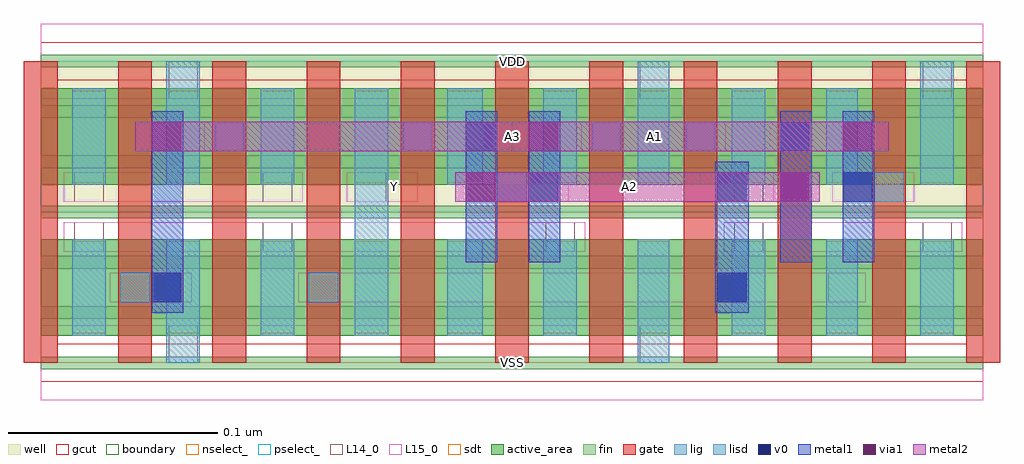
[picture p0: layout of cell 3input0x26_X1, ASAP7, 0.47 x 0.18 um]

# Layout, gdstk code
import gdstk
lib = gdstk.Library(unit=1e-6, precision=1e-09)
def R(c, l, rs):  # rectangles x0, y0, x1, y1
    for r in rs: c.add(gdstk.rectangle(r[:2], r[2:], *l))
def A(c, l, x, y, w, h, nx, ny, dx, dy):  # array of equal rectangles
    R(c, l, [(x+i*dx, y+j*dy, x+i*dx+w, y+j*dy+h) for i in range(nx) for j in range(ny)])
def P(c, l, *ps):  # polygons
    for p in ps: c.add(gdstk.Polygon(p, *l))
well = (1, 0)
fin = (2, 0)
gate = (7, 0)
gcut = (10, 0)
active_area = (11, 0)
nselect_ = (12, 0)
pselect_ = (13, 0)
L14_0 = (14, 0)
L15_0 = (15, 0)
lig = (16, 0)
lisd = (17, 0)
v0 = (18, 0)
metal1 = (19, 0)
metal2 = (20, 0)
via1 = (21, 0)
sdt = (88, 0)
boundary = (100, 0)

c_3input0x26_x1 = lib.new_cell('3input0x26_X1')
R(c_3input0x26_x1, well, [(0,0.072,0.45,0.144)])
A(c_3input0x26_x1, fin, 0, -0.003, 0.45, 0.006, 1, 7, 0, 0.024)
A(c_3input0x26_x1, gate, -0.008, 0, 0.016, 0.144, 11, 1, 0.045, 0)
P(c_3input0x26_x1, gcut, [(0,-0.009),(0,0),(-0.008,0),(-0.008,0.135),(0.008,0.135),(0.008,0.009),(0.442,0.009),(0.442,0.135),(-0.008,0.135),(-0.008,0.144),(0,0.144),(0,0.153),(0.45,0.153),(0.45,0.144),(0.458,0.144),(0.458,0),(0.45,0),(0.45,-0.009)])
R(c_3input0x26_x1, active_area, [(0,0.013,0.45,0.059), (0,0.085,0.45,0.131)])
R(c_3input0x26_x1, nselect_, [(0,0,0.45,0.072)])
R(c_3input0x26_x1, pselect_, [(0,0.072,0.45,0.144)])
A(c_3input0x26_x1, L14_0, 0.241, 0.053, 0.014, 0.014, 3, 1, 0.09, 0)
A(c_3input0x26_x1, L14_0, 0.083, 0.101, 0.014, 0.014, 3, 1, 0.09, 0)
R(c_3input0x26_x1, L14_0, [(0.061,0,0.075,0.018), (0.286,0,0.3,0.018), (0.038,0.029,0.052,0.043), (0.128,0.029,0.142,0.043), (0.376,0.029,0.39,0.043), (0.016,0.053,0.03,0.067), (0.106,0.053,0.12,0.067), (0.016,0.077,0.03,0.091), (0.106,0.077,0.12,0.091), (0.15,0.077,0.165,0.091), (0.218,0.077,0.232,0.091), (0.331,0.077,0.345,0.091), (0.398,0.077,0.412,0.091), (0.308,0.101,0.322,0.115), (0.353,0.101,0.367,0.115), (0.061,0.126,0.075,0.144), (0.286,0.126,0.3,0.144), (0.421,0.126,0.435,0.144)])
R(c_3input0x26_x1, L15_0, [(0,-0.018,0.45,0.018), (0.033,0.029,0.072,0.043), (0.123,0.029,0.394,0.043), (0.011,0.053,0.26,0.067), (0.326,0.053,0.44,0.067), (0.011,0.077,0.125,0.091), (0.146,0.077,0.18,0.091), (0.213,0.077,0.252,0.091), (0.315,0.077,0.35,0.091), (0.378,0.077,0.417,0.091), (0.078,0.101,0.225,0.115), (0.258,0.101,0.327,0.115), (0.348,0.101,0.383,0.115), (0,0.126,0.45,0.162)])
A(c_3input0x26_x1, lig, 0.083, 0.101, 0.014, 0.014, 3, 1, 0.09, 0)
R(c_3input0x26_x1, lig, [(0.038,0.029,0.052,0.043), (0.128,0.029,0.142,0.043), (0.218,0.077,0.232,0.091), (0.398,0.077,0.412,0.091), (0.308,0.101,0.322,0.115), (0.353,0.101,0.367,0.115)])
A(c_3input0x26_x1, lisd, 0.24, 0.013, 0.016, 0.046, 3, 1, 0.09, 0)
R(c_3input0x26_x1, lisd, [(0.06,0,0.076,0.059), (0.285,0,0.3,0.059), (0.015,0.013,0.031,0.059), (0.105,0.013,0.121,0.059), (0.15,0.013,0.166,0.131), (0.194,0.013,0.211,0.059), (0.375,0.013,0.39,0.059), (0.015,0.085,0.031,0.131), (0.06,0.085,0.076,0.144), (0.105,0.085,0.121,0.131), (0.194,0.085,0.211,0.131), (0.24,0.085,0.256,0.131), (0.285,0.085,0.3,0.144), (0.33,0.085,0.346,0.131), (0.375,0.085,0.39,0.131), (0.42,0.085,0.436,0.144)])
R(c_3input0x26_x1, v0, [(0.053,0.029,0.067,0.043), (0.323,0.029,0.337,0.043), (0.233,0.077,0.247,0.091), (0.323,0.077,0.337,0.091), (0.383,0.077,0.397,0.091), (0.203,0.101,0.217,0.115), (0.353,0.101,0.367,0.115)])
R(c_3input0x26_x1, metal1, [(0.053,0.024,0.068,0.12), (0.322,0.024,0.338,0.096), (0.203,0.048,0.218,0.12), (0.233,0.048,0.248,0.12), (0.353,0.048,0.368,0.12), (0.383,0.048,0.398,0.12)])
R(c_3input0x26_x1, metal2, [(0.198,0.077,0.372,0.091), (0.045,0.101,0.405,0.115)])
R(c_3input0x26_x1, via1, [(0.203,0.077,0.217,0.091), (0.353,0.077,0.367,0.091), (0.053,0.101,0.067,0.115), (0.233,0.101,0.247,0.115), (0.383,0.101,0.397,0.115)])
A(c_3input0x26_x1, sdt, 0.015, 0.014, 0.016, 0.044, 4, 2, 0.045, 0.072)
A(c_3input0x26_x1, sdt, 0.24, 0.014, 0.016, 0.044, 3, 2, 0.09, 0.072)
R(c_3input0x26_x1, sdt, [(0.194,0.014,0.211,0.058), (0.285,0.014,0.3,0.058), (0.375,0.014,0.39,0.058), (0.194,0.086,0.211,0.13), (0.285,0.086,0.3,0.13), (0.375,0.086,0.39,0.13)])
R(c_3input0x26_x1, boundary, [(0,0,0.45,0.144)])
c_3input0x26_x1.add(gdstk.Label('VSS', (0.225,0), layer=15, texttype=251))
c_3input0x26_x1.add(gdstk.Label('VDD', (0.225,0.144), layer=15, texttype=251))
c_3input0x26_x1.add(gdstk.Label('Y', (0.169,0.084), layer=15, texttype=251))
c_3input0x26_x1.add(gdstk.Label('VSS', (0.225,0), layer=15, texttype=251))
c_3input0x26_x1.add(gdstk.Label('VDD', (0.225,0.144), layer=15, texttype=251))
c_3input0x26_x1.add(gdstk.Label('VSS', (0.225,0), layer=15, texttype=251))
c_3input0x26_x1.add(gdstk.Label('VDD', (0.225,0.144), layer=15, texttype=251))
c_3input0x26_x1.add(gdstk.Label('A1', (0.293,0.108), layer=15, texttype=251))
c_3input0x26_x1.add(gdstk.Label('VSS', (0.225,0), layer=15, texttype=251))
c_3input0x26_x1.add(gdstk.Label('VDD', (0.225,0.144), layer=15, texttype=251))
c_3input0x26_x1.add(gdstk.Label('VSS', (0.225,0), layer=3, texttype=251))
c_3input0x26_x1.add(gdstk.Label('VSS', (0.225,0), layer=3, texttype=251))
c_3input0x26_x1.add(gdstk.Label('VSS', (0.225,0), layer=3, texttype=251))
c_3input0x26_x1.add(gdstk.Label('VSS', (0.225,0), layer=3, texttype=251))
c_3input0x26_x1.add(gdstk.Label('VDD', (0.225,0.144), layer=1, texttype=251))
c_3input0x26_x1.add(gdstk.Label('VDD', (0.225,0.144), layer=1, texttype=251))
c_3input0x26_x1.add(gdstk.Label('VDD', (0.225,0.144), layer=1, texttype=251))
c_3input0x26_x1.add(gdstk.Label('VDD', (0.225,0.144), layer=1, texttype=251))
c_3input0x26_x1.add(gdstk.Label('A3', (0.225,0.108), layer=20, texttype=251))
c_3input0x26_x1.add(gdstk.Label('A2', (0.281,0.084), layer=20, texttype=251))

lib.write_gds('3input0x26_X1.gds')
